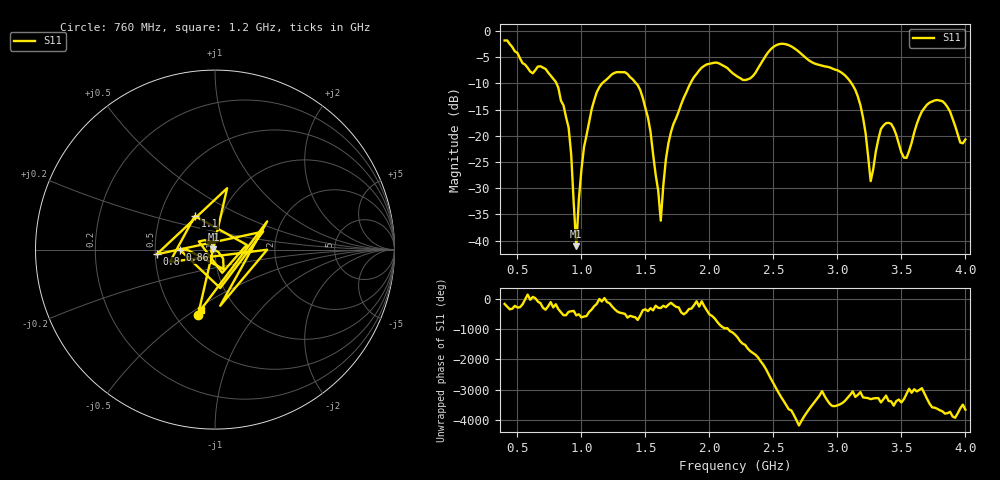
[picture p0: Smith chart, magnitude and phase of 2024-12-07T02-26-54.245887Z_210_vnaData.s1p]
!Created with skrf (http://scikit-rf.org).
# Hz S RI R 50.0
!freq ReS11 ImS11
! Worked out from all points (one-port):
!   181 points, 400 MHz to 4 GHz, reference 50 ohm
!   lowest |S11| = -41.0 dB at 960 MHz (marker M1), VSWR 1.02, Z = 49.1 + j0.0668 ohm
!   |S11| at or under -10 dB: 804.7 MHz to 1.162 GHz (357.6 MHz wide, 36.4 % of centre); 1.428 GHz to 1.852 GHz (424.6 MHz wide, 25.9 % of centre); 3.11 GHz to end of sweep
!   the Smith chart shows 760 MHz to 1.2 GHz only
!   S11 on the Smith chart (normalised r, x): 760 MHz: 0.65, -0.55; 800 MHz: 0.51, -0.03; 860 MHz: 0.67, -0.00; 1.1 GHz: 0.75, +0.29; 1.2 GHz: 0.69, -0.53
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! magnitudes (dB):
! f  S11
! 400 MHz  -1.8
! 760 MHz  -8.5
! 800 MHz  -9.7
! 860 MHz  -14.2
! 920 MHz  -23.5
! 960 MHz  -41.0
! 980 MHz  -32.2
! 1.02 GHz  -22.2
! 1.1 GHz  -13.2
! 1.2 GHz  -9.2
! 1.3 GHz  -7.9
! 1.48 GHz  -12.8
! 1.54 GHz  -19.2
! 1.62 GHz  -36.2
! 1.68 GHz  -21.4
! 1.76 GHz  -15.4
! 1.96 GHz  -6.7
! 2.2 GHz  -8.4
! 2.66 GHz  -3.3
! 3.1 GHz  -9.6
! 3.2 GHz  -16.5
! 3.26 GHz  -28.6
! 3.34 GHz  -18.7
! 3.38 GHz  -17.6
! 3.56 GHz  -22.9
! 3.66 GHz  -15.4
! 3.76 GHz  -13.3
! 4 GHz  -20.7
